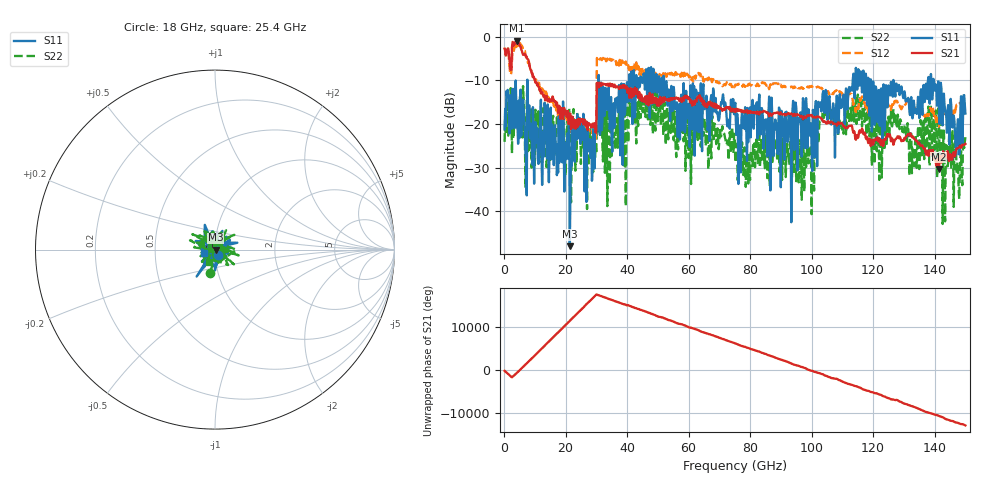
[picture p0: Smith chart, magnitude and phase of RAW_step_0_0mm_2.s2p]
!  2-Port S-parameters saved by WinCal
! VAR MeasName=S-Parameters (CALIBRATED_DATA) read from VNA (MS4647B)
! VAR MeasDate=27-Apr-22 16:08:30
! VAR NAME=RAW_stepline_0mm_2
! VAR FILENAME=RAW_stepline_0mm_2.S2P
! VAR DATE=27-Apr-22 16:08:31
! VAR PHYS_PORTS=1,2
! VAR ObjTypeName=DATASET
! VAR IndexType=Frequency
! VAR ChuckHeaterState=Unknown
! VAR ChuckTemp=NaN
! VAR ChuckTempUnits=Unknown
# Hz S RI R 50
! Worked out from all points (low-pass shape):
!   750 points, 200 MHz to 150 GHz, reference 50 ohm
!   highest |S21| = -0.86 dB at 4.2 GHz (marker M1); lowest = -30.3 dB at 141.4 GHz (marker M2)
!   |S21| within 3 dB of the highest: 709.8 MHz to 1.579 GHz (869.7 MHz wide, 76 % of centre); 2.54 GHz to 6.068 GHz (3.528 GHz wide, 82 % of centre)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
!   lowest |S11| = -48.0 dB at 21.4 GHz (marker M3), VSWR 1.01, Z = 50.4 + j0.00808 ohm
!   |S11| at or under -10 dB: 7.605 GHz to 30.67 GHz (23.06 GHz wide, 121 % of centre); 52.04 GHz to 113.4 GHz (61.35 GHz wide, 74.2 % of centre); 126.6 GHz to 137.8 GHz (11.21 GHz wide, 8.48 % of centre)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
!   |S22| runs from -42.9 to -11.2 dB; largest |S21 - S12| = 1.8
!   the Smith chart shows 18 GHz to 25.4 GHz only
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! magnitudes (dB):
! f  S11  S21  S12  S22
! 200 MHz  -21.2  -2.7  -2.6  -24.1
! 4.2 GHz  -17.7  -0.9  -1.4  -16.9
! 14.4 GHz  -19.0  -14.5  -13.8  -20.2
! 17.4 GHz  -28.9  -15.8  -16.8  -19.8
! 18.8 GHz  -24.8  -16.5  -17.1  -23.5
! 21.4 GHz  -48.0  -17.6  -18.6  -22.4
! 25.2 GHz  -19.8  -19.4  -21.1  -22.0
! 29.4 GHz  -30.2  -19.8  -21.4  -27.4
! 30.8 GHz  -8.8  -11.6  -5.3  -16.5
! 39 GHz  -10.8  -11.5  -5.3  -29.5
! 41.2 GHz  -14.9  -11.8  -7.9  -17.5
! 50.2 GHz  -9.8  -14.3  -9.6  -17.5
! 56.8 GHz  -17.8  -14.2  -8.9  -22.2
! 75.2 GHz  -15.1  -17.2  -11.0  -28.8
! 76.6 GHz  -20.4  -17.0  -10.7  -29.5
! 81.2 GHz  -21.0  -17.3  -11.2  -25.3
! 100.2 GHz  -30.7  -18.1  -11.4  -27.6
! 104.4 GHz  -14.4  -19.5  -12.2  -16.9
! 125.2 GHz  -12.1  -22.6  -15.9  -23.1
! 141.4 GHz  -12.5  -30.3  -20.6  -18.4
! 148.4 GHz  -16.3  -25.0  -15.4  -27.3
! 150 GHz  -17.6  -24.5  -15.3  -23.0
